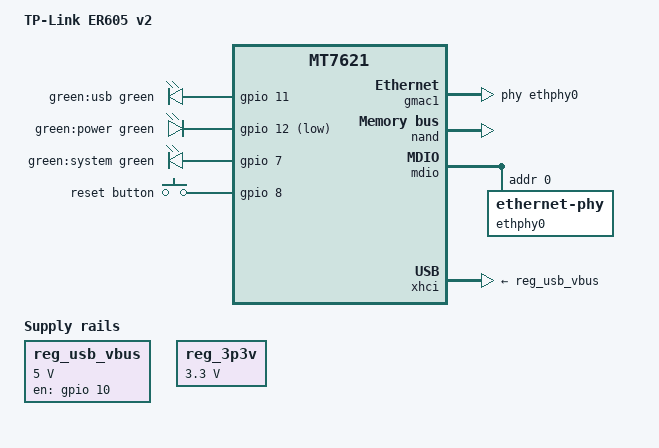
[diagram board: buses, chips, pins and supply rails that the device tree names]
// SPDX-License-Identifier: GPL-2.0-or-later

#include "mt7621.dtsi"

#include <dt-bindings/gpio/gpio.h>
#include <dt-bindings/input/input.h>
#include <dt-bindings/leds/common.h>

/ {
	model = "TP-Link ER605 v2";
	compatible = "tplink,er605-v2", "mediatek,mt7621-soc";

	chosen {
		bootargs = "console=ttyS0,115200 noinitrd";
		// Override bootargs because u-boot passes wrong root parameter.
		// Instead allow kernel determine root automatically by looking for rootfs volume
		bootargs-override = "console=ttyS0,115200 noinitrd ubi.mtd=3,2048";
	};

	aliases {
		led-boot = &led_system;
		led-failsafe = &led_system;
		led-running = &led_system;
		led-upgrade = &led_system;
		label-mac-device = &gmac0;
	};

	leds {
		compatible = "gpio-leds";

		led_usb: usb {
			label = "green:usb";
			color = <LED_COLOR_ID_GREEN>;
			function = LED_FUNCTION_STATUS;
			gpios = <&gpio 11 GPIO_ACTIVE_HIGH>;
		};

		led_power: power {
			label = "green:power";
			color = <LED_COLOR_ID_GREEN>;
			function = LED_FUNCTION_STATUS;
			gpios = <&gpio 12 GPIO_ACTIVE_LOW>;
			default-state = "on";
		};

		led_system: system {
			label = "green:system";
			color = <LED_COLOR_ID_GREEN>;
			function = LED_FUNCTION_STATUS;
			gpios = <&gpio 7 GPIO_ACTIVE_HIGH>;
			default-state = "keep";
		};
	};

	keys {
		compatible = "gpio-keys";

		reset {
			label = "reset button";
			gpios = <&gpio 8 GPIO_ACTIVE_HIGH>;
			linux,code = <KEY_RESTART>;
		};
	};

	reg_usb_vbus: regulator-usb {
		compatible = "regulator-fixed";
		regulator-name = "usb_vbus";
		regulator-min-microvolt = <5000000>;
		regulator-max-microvolt = <5000000>;
		gpio = <&gpio 10 GPIO_ACTIVE_HIGH>;
		enable-active-high;
	};

	reg_3p3v: regulator-3p3v {
		compatible = "regulator-fixed";
		regulator-name = "fixed-3.3V";
		regulator-min-microvolt = <3300000>;
		regulator-max-microvolt = <3300000>;
		regulator-boot-on;
		regulator-always-on;
	};
};

&gmac0 {
	label = "dsa";
};

&gmac1 {
	status = "okay";
	label = "eth0";
	phy-handle = <&ethphy0>;
};


&switch0 {
	ports {
		port@0 {
			status = "disabled";
		};

		port@1 {
			status = "okay";
			label = "eth1";
		};

		port@2 {
			status = "okay";
			label = "eth2";
		};

		port@3 {
			status = "okay";
			label = "eth3";
		};

		port@4 {
			status = "okay";
			label = "eth4";
		};
	};
};

&nand {
	status = "okay";

	partitions {
		compatible = "fixed-partitions";
		#address-cells = <1>;
		#size-cells = <1>;

		partition@0 {
			label = "u-boot";
			reg = <0x0 0x80000>;
			read-only;
		};

		partition@80000 {
			label = "u-boot-env";
			reg = <0x80000 0x80000>;
			read-only;
		};

		factory: partition@100000 {
			label = "factory";
			reg = <0x100000 0x40000>;
			read-only;
		};

		partition@140000 {
			label = "firmware";
			reg = <0x140000 0x7cc0000>;
		};

		partition@7e00000 {
			label = "panic-ops";
			reg = <0x7e00000 0x200000>;
		};
	};
};


&mdio {
	ethphy0: ethernet-phy@0 {
		reg = <0>;
	};
};

&state_default {
	gpio {
		groups = "uart2", "uart3", "pcie", "jtag";
		function = "gpio";
	};
};

&spi0 {
	status = "disabled";
};

&xhci {
	vusb33-supply = <&reg_3p3v>;
	vbus-supply = <&reg_usb_vbus>;
};

